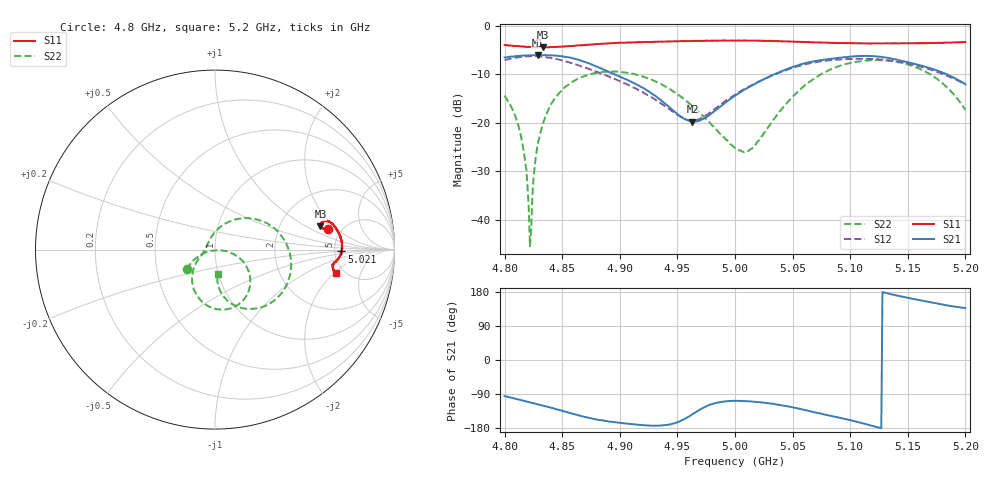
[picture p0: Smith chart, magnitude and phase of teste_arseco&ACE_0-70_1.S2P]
! Network Analyzer HP8722D
! Hewlett-Packard
! Data name: Linha & Wilkinson
! Saver's name: Rodrigo Anjos
! Comments: Teste da utilização de aquisição
! continua pelo VNA HP8722D
! Time and date: 8/5/2025 12:46
!  Frequency  S11  S21  S12  S22
# HZ  S  MA R 50
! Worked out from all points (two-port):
!   401 points, 4.8 GHz to 5.2 GHz, reference 50 ohm
!   highest |S21| = -5.99 dB at 4.829 GHz (marker M1); lowest = -19.8 dB at 4.963 GHz (marker M2)
!   |S21| within 3 dB of the highest: start of sweep to 4.886 GHz; 5.044 GHz to 5.173 GHz (128.9 MHz wide, 2.52 % of centre)
!   lowest |S11| = -4.4 dB at 4.833 GHz (marker M3), VSWR 4.03, Z = 170 + j69.8 ohm
!   |S11| at or under -10 dB: nowhere
!   |S22| runs from -45.5 to -7.0 dB; largest |S21 - S12| = 0.11
!   S11 on the Smith chart (normalised r, x): 4.8 GHz: 3.90, +1.51; 5.021 GHz: 5.76, -0.24; 5.2 GHz: 4.23, -2.12
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4.8e9  0.6377 10.4  0.4732 -95.2  0.4454 -81.4  0.1917 -145.3
4.814e9  0.6157 10.9  0.4943 -105.7  0.4796 -94.4  0.07487 -160.8
4.818e9  0.6106 11.2  0.4962 -108.9  0.4854 -98.3  0.03831 -164.3
4.821e9  0.6098 11.4  0.4988 -111.0  0.4861 -101.4  0.01302 -154.9
4.822e9  0.6069 11.5  0.497 -111.8  0.487 -102.3  0.005305 -116.5
4.824e9  0.6048 11.7  0.4991 -113.4  0.4883 -104.5  0.0167 -14.2
4.826e9  0.6042 11.8  0.4997 -114.9  0.4869 -106.3  0.03428 -7.3
4.829e9  0.603 12.5  0.5017 -117.1  0.4857 -109.1  0.06285 -7.0
4.833e9  0.602 12.5  0.4994 -120.1  0.4807 -113.3  0.09545 -12.6
4.846e9  0.6096 13.9  0.4935 -130.7  0.4532 -125.0  0.1945 -27.5
4.867e9  0.632 14.5  0.4375 -148.3  0.3813 -140.3  0.2972 -50.8
4.899e9  0.6703 12.4  0.3038 -165.5  0.2724 -155.5  0.3365 -82.9
4.934e9  0.6913 9.0  0.1771 -173.3  0.1639 -159.9  0.2573 -116.2
4.963e9  0.6998 6.1  0.1029 -143.3  0.1054 -131.4  0.1485 -140.3
5e9  0.7073 1.7  0.19 -108.0  0.1962 -101.9  0.05514 179.4
5.01e9  0.7088 0.4  0.2261 -108.6  0.2296 -103.3  0.05108 149.1
5.021e9  0.7048 -0.8  0.267 -111.1  0.2683 -106.4  0.06597 113.1
5.067e9  0.6802 -5.3  0.429 -136.4  0.4172 -131.8  0.2767 37.9
5.101e9  0.6649 -6.6  0.4849 -159.5  0.4566 -155.2  0.4189 -3.3
5.134e9  0.6625 -7.8  0.4658 174.7  0.4427 -178.1  0.4381 -38.6
5.171e9  0.6675 -9.5  0.3627 151.6  0.3499 158.0  0.3095 -74.0
5.2e9  0.6844 -11.2  0.2499 137.1  0.2505 145.0  0.1362 -83.6
